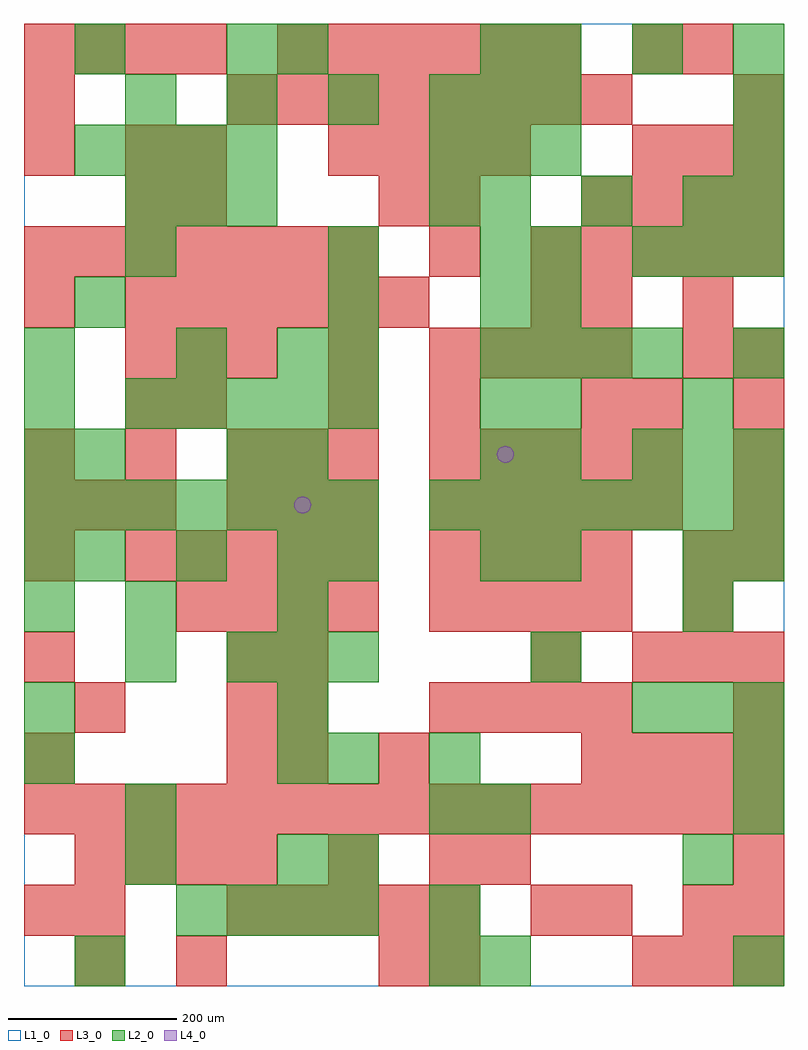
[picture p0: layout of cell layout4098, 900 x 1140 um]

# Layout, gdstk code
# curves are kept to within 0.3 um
import gdstk
lib = gdstk.Library(unit=1e-6, precision=1e-09)
def R(c, l, rs):  # rectangles x0, y0, x1, y1
    for r in rs: c.add(gdstk.rectangle(r[:2], r[2:], *l))
def A(c, l, x, y, w, h, nx, ny, dx, dy):  # array of equal rectangles
    R(c, l, [(x+i*dx, y+j*dy, x+i*dx+w, y+j*dy+h) for i in range(nx) for j in range(ny)])
def P(c, l, *ps):  # polygons
    for p in ps: c.add(gdstk.Polygon(p, *l))
L1_0 = (1, 0)
L2_0 = (2, 0)
L3_0 = (3, 0)
L4_0 = (4, 0)

layout4098 = lib.new_cell('layout4098')
R(layout4098, L1_0, [(0,0,900,1140)])
A(layout4098, L2_0, 180, 60, 60, 60, 4, 1, 60, 0)
A(layout4098, L2_0, 360, 240, 60, 60, 1, 3, 0, 240)
A(layout4098, L2_0, 840, 240, 60, 60, 1, 3, 0, 240)
A(layout4098, L2_0, 720, 300, 60, 60, 3, 2, 60, 300)
A(layout4098, L2_0, 240, 360, 60, 60, 3, 1, 60, 0)
A(layout4098, L2_0, 600, 360, 60, 60, 1, 3, 0, 120)
A(layout4098, L2_0, 60, 480, 60, 60, 3, 1, 120, 0)
A(layout4098, L2_0, 0, 540, 60, 60, 7, 1, 60, 0)
A(layout4098, L2_0, 480, 540, 60, 60, 7, 1, 60, 0)
A(layout4098, L2_0, 0, 600, 60, 60, 1, 3, 0, 60)
A(layout4098, L2_0, 120, 660, 60, 60, 5, 1, 60, 0)
A(layout4098, L2_0, 540, 720, 60, 60, 4, 1, 60, 0)
A(layout4098, L2_0, 720, 840, 60, 60, 3, 1, 60, 0)
A(layout4098, L2_0, 120, 900, 60, 60, 3, 1, 60, 0)
A(layout4098, L2_0, 540, 900, 60, 60, 3, 1, 120, 0)
A(layout4098, L2_0, 840, 900, 60, 60, 1, 3, 0, 60)
A(layout4098, L2_0, 60, 960, 60, 60, 4, 1, 60, 0)
A(layout4098, L2_0, 480, 960, 60, 60, 3, 1, 60, 0)
A(layout4098, L2_0, 120, 1020, 60, 60, 4, 1, 120, 0)
A(layout4098, L2_0, 600, 1080, 60, 60, 3, 1, 120, 0)
R(layout4098, L2_0, [(60,0,120,60), (480,0,540,60), (540,0,600,60), (840,0,900,60), (480,60,540,120), (120,120,180,180), (300,120,360,180), (360,120,420,180), (780,120,840,180), (120,180,180,240), (480,180,540,240), (540,180,600,240), (840,180,900,240), (0,240,60,300), (300,240,360,300), (480,240,540,300), (0,300,60,360), (300,300,360,360), (120,360,180,420), (0,420,60,480), (120,420,180,480), (300,420,360,480), (780,420,840,480), (0,480,60,540), (540,480,600,540), (780,480,840,540), (60,600,120,660), (240,600,300,660), (300,600,360,660), (540,600,600,660), (540,660,600,720), (600,660,660,720), (780,660,840,720), (180,720,240,780), (300,720,360,780), (60,780,120,840), (360,780,420,840), (540,780,600,840), (600,780,660,840), (120,840,180,900), (360,840,420,900), (540,840,600,900), (600,840,660,900), (480,900,540,960), (540,1020,600,1080), (600,1020,660,1080), (60,1080,120,1140), (240,1080,300,1140), (300,1080,360,1140), (540,1080,600,1140)])
A(layout4098, L3_0, 720, 0, 60, 60, 3, 2, 60, 360)
A(layout4098, L3_0, 240, 60, 60, 60, 5, 1, 60, 0)
A(layout4098, L3_0, 60, 120, 60, 60, 4, 1, 60, 0)
A(layout4098, L3_0, 840, 120, 60, 60, 1, 3, 0, 180)
A(layout4098, L3_0, 0, 180, 60, 60, 15, 1, 60, 0)
A(layout4098, L3_0, 0, 240, 60, 60, 1, 3, 0, 120)
A(layout4098, L3_0, 240, 240, 60, 60, 1, 3, 0, 60)
A(layout4098, L3_0, 300, 240, 60, 60, 1, 3, 0, 60)
A(layout4098, L3_0, 660, 240, 60, 60, 4, 2, 60, 660)
A(layout4098, L3_0, 480, 300, 60, 60, 4, 2, 60, 120)
A(layout4098, L3_0, 180, 420, 60, 60, 4, 1, 60, 0)
A(layout4098, L3_0, 120, 480, 60, 60, 5, 1, 60, 0)
A(layout4098, L3_0, 480, 480, 60, 60, 4, 2, 60, 240)
A(layout4098, L3_0, 0, 540, 60, 60, 3, 1, 60, 0)
A(layout4098, L3_0, 240, 540, 60, 60, 3, 1, 60, 0)
A(layout4098, L3_0, 480, 540, 60, 60, 5, 2, 60, 60)
A(layout4098, L3_0, 840, 540, 60, 60, 1, 4, 0, 60)
A(layout4098, L3_0, 0, 600, 60, 60, 3, 1, 120, 0)
A(layout4098, L3_0, 360, 600, 60, 60, 1, 3, 0, 60)
A(layout4098, L3_0, 120, 720, 60, 60, 3, 1, 60, 0)
A(layout4098, L3_0, 120, 780, 60, 60, 6, 1, 60, 0)
A(layout4098, L3_0, 0, 840, 60, 60, 7, 1, 60, 0)
A(layout4098, L3_0, 600, 840, 60, 60, 5, 1, 60, 0)
A(layout4098, L3_0, 360, 960, 60, 60, 4, 1, 60, 0)
A(layout4098, L3_0, 720, 960, 60, 60, 3, 1, 60, 0)
A(layout4098, L3_0, 240, 1020, 60, 60, 8, 1, 60, 0)
A(layout4098, L3_0, 0, 1080, 60, 60, 4, 1, 60, 0)
A(layout4098, L3_0, 300, 1080, 60, 60, 6, 1, 60, 0)
R(layout4098, L3_0, [(60,0,120,60), (180,0,240,60), (420,0,480,60), (480,0,540,60), (0,60,60,120), (60,60,120,120), (600,60,660,120), (660,60,720,120), (780,60,840,120), (840,60,900,120), (360,120,420,180), (480,120,540,180), (540,120,600,180), (420,240,480,300), (60,300,120,360), (600,360,660,420), (780,420,840,480), (780,480,840,540), (300,600,360,660), (120,660,180,720), (180,660,240,720), (480,660,540,720), (660,660,720,720), (720,660,780,720), (780,720,840,780), (0,780,60,840), (600,780,660,840), (660,780,720,840), (780,780,840,840), (480,840,540,900), (120,900,180,960), (180,900,240,960), (420,900,480,960), (480,900,540,960), (0,960,60,1020), (120,960,180,1020), (180,960,240,1020), (0,1020,60,1080), (840,1020,900,1080), (720,1080,780,1140), (780,1080,840,1140)])
P(layout4098, L4_0, [(340,570),(339.239,573.827),(337.071,577.071),(333.827,579.239),(330,580),(326.173,579.239),(322.929,577.071),(320.761,573.827),(320,570),(320.761,566.173),(322.929,562.929),(326.173,560.761),(330,560),(333.827,560.761),(337.071,562.929),(339.239,566.173)],
  [(580,630),(579.239,633.827),(577.071,637.071),(573.827,639.239),(570,640),(566.173,639.239),(562.929,637.071),(560.761,633.827),(560,630),(560.761,626.173),(562.929,622.929),(566.173,620.761),(570,620),(573.827,620.761),(577.071,622.929),(579.239,626.173)])

lib.write_gds('layout4098.gds')
